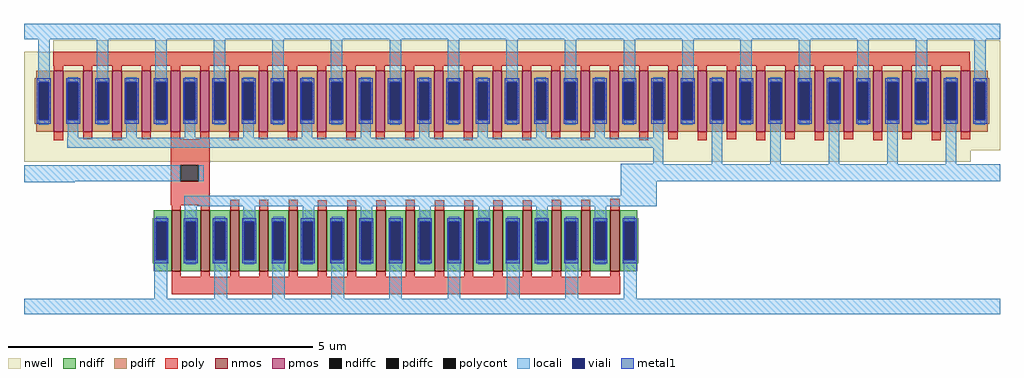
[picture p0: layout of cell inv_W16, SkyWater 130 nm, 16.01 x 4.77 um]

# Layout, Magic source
magic
tech sky130A
magscale 1 2
<< nwell >>
rect 82 814 3088 860
rect 706 580 740 630
rect 898 580 932 626
rect 1090 580 1124 630
rect 1282 580 1316 626
rect 1474 580 1508 628
rect 1666 580 1700 626
rect 598 546 1858 580
<< poly >>
rect 82 816 3088 862
rect 468 490 596 574
rect 468 436 498 490
rect 560 436 596 490
rect 468 358 596 436
<< polycont >>
rect 498 436 560 490
<< locali >>
rect -14 902 3188 954
rect 32 770 70 902
rect 224 770 262 902
rect 416 770 454 902
rect 608 768 646 902
rect 800 766 838 902
rect 992 768 1030 902
rect 1186 770 1224 902
rect 1376 766 1414 902
rect 1568 768 1606 902
rect 1760 766 1798 902
rect 1954 768 1992 902
rect 2146 768 2184 902
rect 2336 766 2374 902
rect 2528 760 2566 902
rect 2720 766 2758 902
rect 2912 768 2950 902
rect 3104 768 3142 902
rect 130 580 164 628
rect 322 580 356 630
rect 514 580 548 626
rect 706 580 740 630
rect 898 580 932 626
rect 1090 580 1124 630
rect 1282 580 1316 626
rect 1474 580 1508 628
rect 1666 580 1700 626
rect 1858 580 1892 628
rect 2050 580 2084 632
rect 128 546 2084 580
rect 2050 494 2084 546
rect 1944 492 2084 494
rect 2242 492 2276 634
rect 2434 492 2468 632
rect 2626 492 2660 630
rect 2818 492 2852 628
rect 3010 492 3044 632
rect -14 436 498 490
rect 560 436 576 490
rect 1944 436 3188 492
rect -14 434 152 436
rect 1944 390 2062 436
rect 512 354 2062 390
rect 514 314 552 354
rect 706 300 744 354
rect 900 304 938 354
rect 1090 302 1128 354
rect 1282 308 1320 354
rect 1476 304 1514 354
rect 1666 308 1704 354
rect 1858 308 1896 354
rect -14 0 3188 52
use sky130_fd_pr__nfet_01v8_VJWT33  sky130_fd_pr__nfet_01v8_VJWT33_0
transform 1 0 1205 0 1 242
box -797 -218 797 138
use sky130_fd_pr__pfet_01v8_3M44SC  sky130_fd_pr__pfet_01v8_3M44SC_0
transform 1 0 1587 0 1 700
box -1601 -200 1601 200
<< end >>

# cell sky130_fd_pr__nfet_01v8_VJWT33: kit device sky130_fd_pr__nfet_01v8, w 1 l 0.150 m 1 nf 16 diffcov 70 polycov 70 guard 0 glc 0 grc 0 gtc 0 gbc 0 tbcov 70 rlcov 70 topc 0 botc 0 poverlap 0 doverlap 1 lmin 0.15 wmin 0.42 compatible {sky130_fd_pr__nfet_01v8 sky130_fd_pr__nfet_01v8_lvt sky130_fd_bs_flash__special_sonosfet_star sky130_fd_pr__nfet_g5v0d10v5 sky130_fd_pr__nfet_05v0_nvt sky130_fd_pr__nfet_03v3_nvt} full_metal 0 viasrc 70 viadrn 70 viagate 70 viagb 0 viagr 0 viagl 0 viagt 0

# cell sky130_fd_pr__pfet_01v8_3M44SC: kit device sky130_fd_pr__pfet_01v8, w 1 l 0.15 m 1 nf 32 diffcov 70 polycov 70 guard 0 glc 0 grc 0 gtc 0 gbc 0 tbcov 70 rlcov 70 topc 0 botc 0 poverlap 0 doverlap 1 lmin 0.15 wmin 0.42 compatible {sky130_fd_pr__pfet_01v8 sky130_fd_pr__pfet_01v8_lvt sky130_fd_pr__pfet_01v8_hvt sky130_fd_pr__pfet_g5v0d10v5} full_metal 0 viasrc 70 viadrn 70 viagate 70 viagb 0 viagr 0 viagl 0 viagt 0
